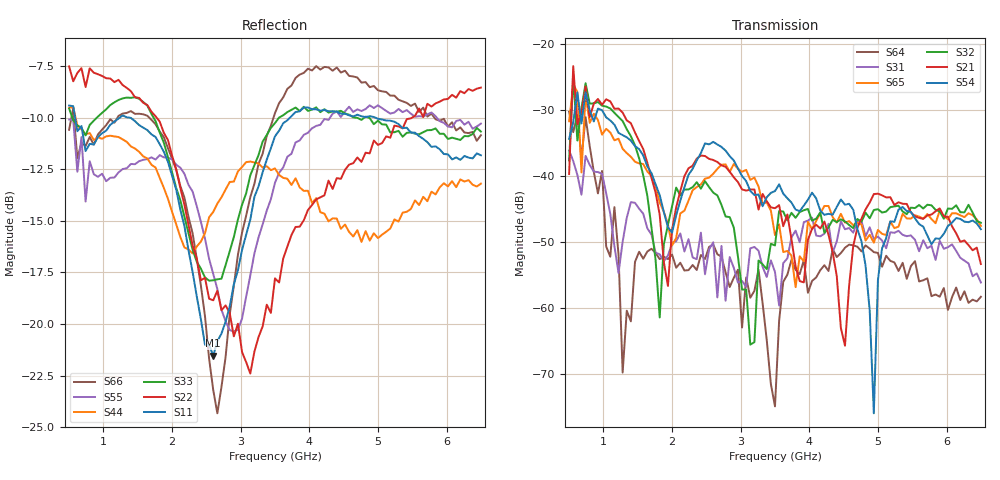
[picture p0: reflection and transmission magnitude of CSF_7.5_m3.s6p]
!Keysight Technologies,M9804A,MY58100912,A.14.10.03
!Date: Thursday, April 27, 2023 10:28:33
!Correction: S11(C  6-Port  )
!S12(C  6-Port  )
!S13(C  6-Port  )
!S14(C  6-Port  )
!S15(C  6-Port  )
!S16(C  6-Port  )
!S21(C  6-Port  )
!S22(C  6-Port  )
!S23(C  6-Port  )
!S24(C  6-Port  )
!S25(C  6-Port  )
!S26(C  6-Port  )
!S31(C  6-Port  )
!S32(C  6-Port  )
!S33(C  6-Port  )
!S34(C  6-Port  )
!S35(C  6-Port  )
!S36(C  6-Port  )
!S41(C  6-Port  )
!S42(C  6-Port  )
!S43(C  6-Port  )
!S44(C  6-Port  )
!S45(C  6-Port  )
!S46(C  6-Port  )
!S51(C  6-Port  )
!S52(C  6-Port  )
!S53(C  6-Port  )
!S54(C  6-Port  )
!S55(C  6-Port  )
!S56(C  6-Port  )
!S61(C  6-Port  )
!S62(C  6-Port  )
!S63(C  6-Port  )
!S64(C  6-Port  )
!S65(C  6-Port  )
!S66(C  6-Port  )
!S6P File: Measurement: :
# Hz S  RI  R 50
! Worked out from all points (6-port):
!   101 points, 500 MHz to 6.5 GHz, reference 50 ohm
!   strongest paths, dB at 500 MHz, 2 GHz, 3.5 GHz, 5 GHz, 6.5 GHz:
!     S54: -34.3, -48.6, -42.3, -55.7, -48.1
!     S21: -39.7, -48.1, -44.9, -42.7, -53.3
!     S32: -37.6, -44.6, -50.5, -45.0, -47.1
!     S65: -31.7, -50.5, -49.0, -48.2, -47.6
!     S31: -36.1, -50.2, -54.5, -49.2, -56.1
!     S64: -30.2, -51.9, -74.9, -51.7, -58.3
!   lowest |S11| = -21.5 dB at 2.6 GHz (marker M1), VSWR 1.18, Z = 42.5 + j2.06 ohm
!   |S11| at or under -10 dB: 588 MHz to 1.233 GHz (644.7 MHz wide, 70.8 % of centre); 1.4 GHz to 3.715 GHz (2.315 GHz wide, 90.5 % of centre); 4.971 GHz to end of sweep
